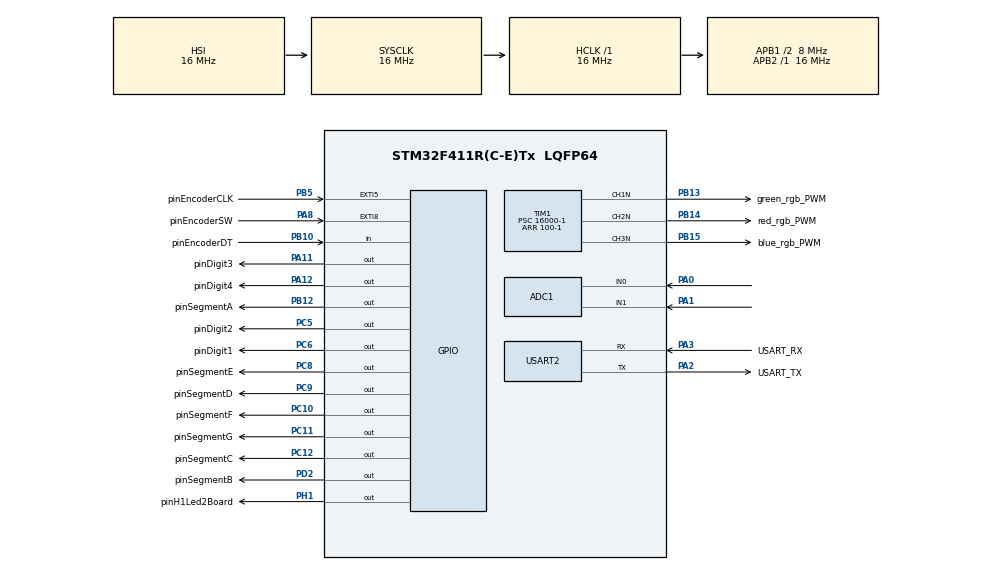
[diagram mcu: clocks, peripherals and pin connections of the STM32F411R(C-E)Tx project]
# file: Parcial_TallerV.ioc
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ADC1.Channel-0\#ChannelRegularConversion=ADC_CHANNEL_0
ADC1.Channel-1\#ChannelRegularConversion=ADC_CHANNEL_1
ADC1.ExternalTrigConv=ADC_EXTERNALTRIGCONV_T3_TRGO
ADC1.NbrOfConversion=2
ADC1.NbrOfConversionFlag=1
ADC1.Rank-0\#ChannelRegularConversion=1
ADC1.Rank-1\#ChannelRegularConversion=2
ADC1.SamplingTime-0\#ChannelRegularConversion=ADC_SAMPLETIME_3CYCLES
ADC1.SamplingTime-1\#ChannelRegularConversion=ADC_SAMPLETIME_3CYCLES
ADC1.master=1
Dma.ADC1.0.Direction=DMA_PERIPH_TO_MEMORY
Dma.ADC1.0.FIFOMode=DMA_FIFOMODE_DISABLE
Dma.ADC1.0.Instance=DMA2_Stream0
Dma.ADC1.0.MemDataAlignment=DMA_MDATAALIGN_HALFWORD
Dma.ADC1.0.MemInc=DMA_MINC_ENABLE
Dma.ADC1.0.Mode=DMA_CIRCULAR
Dma.ADC1.0.PeriphDataAlignment=DMA_PDATAALIGN_HALFWORD
Dma.ADC1.0.PeriphInc=DMA_PINC_DISABLE
Dma.ADC1.0.Priority=DMA_PRIORITY_VERY_HIGH
Dma.Request0=ADC1
Dma.Request1=USART2_RX
Dma.USART2_RX.1.Direction=DMA_PERIPH_TO_MEMORY
Dma.USART2_RX.1.FIFOMode=DMA_FIFOMODE_DISABLE
Dma.USART2_RX.1.Instance=DMA1_Stream5
Dma.USART2_RX.1.MemDataAlignment=DMA_MDATAALIGN_BYTE
Dma.USART2_RX.1.MemInc=DMA_MINC_ENABLE
Dma.USART2_RX.1.Mode=DMA_NORMAL
Dma.USART2_RX.1.PeriphDataAlignment=DMA_PDATAALIGN_BYTE
Dma.USART2_RX.1.PeriphInc=DMA_PINC_DISABLE
Dma.USART2_RX.1.Priority=DMA_PRIORITY_HIGH
Mcu.Family=STM32F4
Mcu.Name=STM32F411R(C-E)Tx
Mcu.Package=LQFP64
NVIC.DMA1_Stream5_IRQn=true\:0\:0\:false\:false\:true\:false\:true\:true
NVIC.DMA2_Stream0_IRQn=true\:0\:0\:false\:false\:true\:false\:true\:true
NVIC.EXTI9_5_IRQn=true\:0\:0\:false\:false\:true\:true\:true\:true
NVIC.PriorityGroup=NVIC_PRIORITYGROUP_0
NVIC.TIM2_IRQn=true\:0\:0\:false\:false\:true\:true\:true\:true
NVIC.TIM4_IRQn=true\:0\:0\:false\:false\:true\:true\:true\:true
PA0-WKUP.Signal=ADCx_IN0
PA1.Signal=ADCx_IN1
PA11.GPIO_Label=pinDigit3
PA11.PinState=GPIO_PIN_SET
PA11.Signal=GPIO_Output
PA12.GPIO_Label=pinDigit4
PA12.PinState=GPIO_PIN_SET
PA12.Signal=GPIO_Output
PA13.GPIO_Label=TMS
PA13.Mode=Serial_Wire
PA13.Signal=SYS_JTMS-SWDIO
PA14.GPIO_Label=TCK
PA14.Mode=Serial_Wire
PA14.Signal=SYS_JTCK-SWCLK
PA2.GPIO_Label=USART_TX
PA2.Mode=Asynchronous
PA2.Signal=USART2_TX
PA3.GPIO_Label=USART_RX
PA3.Mode=Asynchronous
PA3.Signal=USART2_RX
PA8.GPIO_Label=pinEncoderSW
PA8.Signal=GPXTI8
PB10.GPIO_Label=pinEncoderDT
PB10.Signal=GPIO_Input
PB12.GPIO_Label=pinSegmentA
PB12.Signal=GPIO_Output
PB13.GPIO_Label=green_rgb_PWM
PB13.Mode=PWM Generation1 CH1N
PB13.Signal=TIM1_CH1N
PB14.GPIO_Label=red_rgb_PWM
PB14.Mode=PWM Generation2 CH2N
PB14.Signal=TIM1_CH2N
PB15.GPIO_Label=blue_rgb_PWM
PB15.Mode=PWM Generation3 CH3N
PB15.Signal=TIM1_CH3N
PB3.GPIO_Label=SWO
PB3.Signal=SYS_JTDO-SWO
PB5.GPIO_Label=pinEncoderCLK
PB5.Signal=GPXTI5
PC10.GPIO_Label=pinSegmentF
PC10.Signal=GPIO_Output
PC11.GPIO_Label=pinSegmentG
PC11.Signal=GPIO_Output
PC12.GPIO_Label=pinSegmentC
PC12.Signal=GPIO_Output
PC14-OSC32_IN.Signal=RCC_OSC32_IN
PC15-OSC32_OUT.Signal=RCC_OSC32_OUT
PC5.GPIO_Label=pinDigit2
PC5.PinState=GPIO_PIN_SET
PC5.Signal=GPIO_Output
PC6.GPIO_Label=pinDigit1
PC6.PinState=GPIO_PIN_SET
PC6.Signal=GPIO_Output
PC8.GPIO_Label=pinSegmentE
PC8.Signal=GPIO_Output
PC9.GPIO_Label=pinSegmentD
PC9.Signal=GPIO_Output
PD2.GPIO_Label=pinSegmentB
PD2.Signal=GPIO_Output
PH0\ -\ OSC_IN.Signal=RCC_OSC_IN
PH1\ -\ OSC_OUT.GPIO_Label=pinH1Led2Board
PH1\ -\ OSC_OUT.Signal=GPIO_Output
ProjectManager.HeapSize=0x200
ProjectManager.StackSize=0x400
ProjectManager.TargetToolchain=STM32CubeIDE
RCC.48MHZClocksFreq_Value=84000000
RCC.AHBFreq_Value=16000000
RCC.APB1CLKDivider=RCC_HCLK_DIV2
RCC.APB1Freq_Value=8000000
RCC.APB1TimFreq_Value=16000000
RCC.APB2Freq_Value=16000000
RCC.APB2TimFreq_Value=16000000
RCC.CortexFreq_Value=16000000
RCC.FLatency-AdvancedSettings=FLASH_LATENCY_0
RCC.HCLKFreq_Value=16000000
RCC.HSE_VALUE=8000000
RCC.HSI_VALUE=16000000
RCC.LSE_VALUE=32768
RCC.PLLN=336
RCC.PLLP=RCC_PLLP_DIV4
RCC.SYSCLKFreq_VALUE=16000000
RCC.VCOOutputFreq_Value=336000000
SH.ADCx_IN0.0=ADC1_IN0,IN0
SH.ADCx_IN1.0=ADC1_IN1,IN1
TIM1.AutoReloadPreload=TIM_AUTORELOAD_PRELOAD_ENABLE
TIM1.Channel-PWM\ Generation1\ CH1N=TIM_CHANNEL_1
TIM1.Channel-PWM\ Generation2\ CH2N=TIM_CHANNEL_2
TIM1.Channel-PWM\ Generation3\ CH3N=TIM_CHANNEL_3
TIM1.Period=100-1
TIM1.Prescaler=16000-1
TIM1.Pulse-PWM\ Generation2\ CH2N=0
TIM1.Pulse-PWM\ Generation3\ CH3N=0
TIM2.Period=502-1
TIM2.Prescaler=16000-1
TIM3.AutoReloadPreload=TIM_AUTORELOAD_PRELOAD_ENABLE
TIM3.Period=25
TIM3.Prescaler=1200
TIM3.TIM_MasterOutputTrigger=TIM_TRGO_UPDATE
TIM4.AutoReloadPreload=TIM_AUTORELOAD_PRELOAD_ENABLE
TIM4.Period=2-1
TIM4.Prescaler=16000-1
USART2.VirtualMode=VM_ASYNC
VP_TIM1_VS_ClockSourceINT.Mode=Internal
VP_TIM2_VS_ClockSourceINT.Mode=Internal
VP_TIM3_VS_ClockSourceINT.Mode=Internal
VP_TIM4_VS_ClockSourceINT.Mode=Internal
board=NUCLEO-F411RE

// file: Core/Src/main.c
/* USER CODE BEGIN Header */
/**
  ******************************************************************************
  * @file           : main.c
  * @brief          : Main program body
  ******************************************************************************
  * @attention
  *
  * Copyright (c) 2025 STMicroelectronics.
  * All rights reserved.
  *
  * This software is licensed under terms that can be found in the LICENSE file
  * in the root directory of this software component.
  * If no LICENSE file comes with this software, it is provided AS-IS.
  *
  ******************************************************************************
  */
/* USER CODE END Header */
#include "main.h"

/* USER CODE BEGIN Includes */
#include "maquina_estados_hal.h"
#include <stdint.h>
#include <stdlib.h>  // Para atoi()
#include <string.h>  // Para strncmp()
#include <stdio.h>
/* USER CODE END Includes */

/* USER CODE BEGIN PD */
#define BUFFER_SIZE 128  // Tamaño de cada buffer (ajustar según necesidades)
#define UART_BUFFER_SIZE 64
/* USER CODE END PD */

ADC_HandleTypeDef hadc1;
DMA_HandleTypeDef hdma_adc1;

TIM_HandleTypeDef htim1;
TIM_HandleTypeDef htim2;
TIM_HandleTypeDef htim3;
TIM_HandleTypeDef htim4;

UART_HandleTypeDef huart2;
DMA_HandleTypeDef hdma_usart2_rx;

/* USER CODE BEGIN PV */
volatile uint8_t display7segmentFLAG = 0;
volatile uint8_t encoderSWextiFLAG = 0;

// Buffers Ping-Pong para X e Y (intercalados)
volatile uint16_t adc_buffer_ping[2 * BUFFER_SIZE];  // [X0, Y0, X1, Y1, ...]
volatile uint16_t adc_buffer_pong[2 * BUFFER_SIZE];  // [X0, Y0, X1, Y1, ...]

// Flags de estado
volatile uint8_t ping_active = 1;  // 1=Ping activo, 0=Pong activo
volatile uint8_t half_transfer_flag = 0;
volatile uint8_t full_transfer_flag = 0;

uint16_t x_values[BUFFER_SIZE];
uint16_t y_values[BUFFER_SIZE];
uint16_t offset = 0;

// Control de buffers
volatile enum {
    BUFFER_PING_FIRST_HALF,
    BUFFER_PING_SECOND_HALF,
    BUFFER_PONG_FIRST_HALF,
    BUFFER_PONG_SECOND_HALF
} current_buffer_section = BUFFER_PING_FIRST_HALF;

volatile uint8_t data_ready = 0;

//7 segmentos
uint8_t contadorDigito_XX = 0;
uint8_t contadorDigito_YY = 0;
volatile uint16_t display_value_XX = 0;  // Valor a mostrar en el display XX (0-100)
volatile uint16_t display_value_YY = 0;  // Valor a mostrar en el display YY (0-100)

uint8_t miles = 0;
uint8_t centenas = 0;
uint8_t decenas = 0;
uint8_t	unidades = 0;

fsm_states_t stateMachine = {0};

//UART
volatile uint8_t uart_rx_buffer[UART_BUFFER_SIZE];
volatile uint8_t uart_rx_len = 0;
volatile uint8_t uart_cmd_ready = 0;

// Valores PWM actuales (0-100%)
volatile uint8_t pwm_red = 0;
volatile uint8_t pwm_green = 0;
volatile uint8_t pwm_blue = 0;
/* USER CODE END PV */

void SystemClock_Config(void);
static void MX_GPIO_Init(void);
static void MX_DMA_Init(void);
static void MX_USART2_UART_Init(void);
static void MX_TIM2_Init(void);
static void MX_TIM3_Init(void);
static void MX_ADC1_Init(void);
static void MX_TIM1_Init(void);
static void MX_TIM4_Init(void);
/* USER CODE BEGIN PFP */
e_PosibleStates state_machine_action(uint8_t event);
void InitProgram(void);
void mostrarUnidades(void);
void mostrarDecenas(void);
void mostrarCentenas(void);
void mostrarMiles(void);
void update7SegmentDisplay(void);
void segmentoON(uint8_t number);
void divideNumber(uint16_t contador);
void ProcessUARTCommand(char* cmd);
void comandoHelp(void);
void comandoRGB(char* command);
/* USER CODE END PFP */

int main(void)
{

  /* MCU Configuration--------------------------------------------------------*/

  /* Reset of all peripherals, Initializes the Flash interface and the Systick. */
  HAL_Init();

  /* USER CODE BEGIN Init */
  InitProgram();

  /* USER CODE END Init */

  /* Configure the system clock */
  SystemClock_Config();

  /* Initialize all configured peripherals */
  MX_GPIO_Init();
  MX_DMA_Init();
  MX_USART2_UART_Init();
  MX_TIM2_Init();
  MX_TIM3_Init();
  MX_ADC1_Init();
  MX_TIM1_Init();
  MX_TIM4_Init();
  /* USER CODE BEGIN 2 */

  HAL_UART_Receive_DMA(&huart2, (uint8_t*)uart_rx_buffer, UART_BUFFER_SIZE);
  HAL_TIM_Base_Start_IT(&htim4);
  HAL_TIM_Base_Start_IT(&htim2);
  HAL_TIM_Base_Start(&htim3);
  HAL_TIM_Base_Start(&htim1);
  HAL_ADC_Start_DMA(&hadc1, (uint32_t*)adc_buffer_ping, 2 * BUFFER_SIZE);
  HAL_TIMEx_PWMN_Start(&htim1, TIM_CHANNEL_2);
  HAL_TIMEx_PWMN_Start(&htim1, TIM_CHANNEL_1);
  HAL_TIMEx_PWMN_Start(&htim1, TIM_CHANNEL_3);
  /* USER CODE END 2 */

  /* Infinite loop */
  /* USER CODE BEGIN WHILE */
  while (1)
  {
//	  if(half_transfer_flag || full_transfer_flag) {
//	          // Determinar qué buffer procesar
//	          volatile uint16_t* current_buffer;
//
//	          if(half_transfer_flag) {
//	              current_buffer = ping_active ? adc_buffer_ping : adc_buffer_pong;
//	          } else { // full_transfer_flag
//	              current_buffer = ping_active ? adc_buffer_pong : adc_buffer_ping;
//	          }
//
//	          // Procesar datos (ejemplo: separar ejes)
//
//
//	          for(int i = 0; i < BUFFER_SIZE; i++) {
//	              x_values[i] = current_buffer[2 * i];      // Posiciones pares: X
//	              y_values[i] = current_buffer[2 * i + 1];  // Posiciones impares: Y
//	          }
//
//	          // Resetear flags
//	          half_transfer_flag = 0;
//	          full_transfer_flag = 0;
//
//	          // Cambiar buffer activo si es transferencia completa
//	          if(full_transfer_flag) {
//	              ping_active = !ping_active;
//	          }
//
//	          // AQUÍ TU PROCESAMIENTO DE DATOS (ejes X e Y separados)
//	          // Puedes implementar filtrado, calibración, etc.
//	      }
	  state_machine_action(0);

    /* USER CODE END WHILE */

  }
}

void SystemClock_Config(void)
{
  RCC_OscInitTypeDef RCC_OscInitStruct = {0};
  RCC_ClkInitTypeDef RCC_ClkInitStruct = {0};

  /** Configure the main internal regulator output voltage
  */
  __HAL_RCC_PWR_CLK_ENABLE();
  __HAL_PWR_VOLTAGESCALING_CONFIG(PWR_REGULATOR_VOLTAGE_SCALE1);

  /** Initializes the RCC Oscillators according to the specified parameters
  * in the RCC_OscInitTypeDef structure.
  */
  RCC_OscInitStruct.OscillatorType = RCC_OSCILLATORTYPE_HSI;
  RCC_OscInitStruct.HSIState = RCC_HSI_ON;
  RCC_OscInitStruct.HSICalibrationValue = RCC_HSICALIBRATION_DEFAULT;
  RCC_OscInitStruct.PLL.PLLState = RCC_PLL_NONE;
  if (HAL_RCC_OscConfig(&RCC_OscInitStruct) != HAL_OK)
  {
    Error_Handler();
  }

  /** Initializes the CPU, AHB and APB buses clocks
  */
  RCC_ClkInitStruct.ClockType = RCC_CLOCKTYPE_HCLK|RCC_CLOCKTYPE_SYSCLK
                              |RCC_CLOCKTYPE_PCLK1|RCC_CLOCKTYPE_PCLK2;
  RCC_ClkInitStruct.SYSCLKSource = RCC_SYSCLKSOURCE_HSI;
  RCC_ClkInitStruct.AHBCLKDivider = RCC_SYSCLK_DIV1;
  RCC_ClkInitStruct.APB1CLKDivider = RCC_HCLK_DIV2;
  RCC_ClkInitStruct.APB2CLKDivider = RCC_HCLK_DIV1;

  if (HAL_RCC_ClockConfig(&RCC_ClkInitStruct, FLASH_LATENCY_0) != HAL_OK)
  {
    Error_Handler();
  }
}

static void MX_ADC1_Init(void)
{

  ADC_ChannelConfTypeDef sConfig = {0};

  /** Configure the global features of the ADC (Clock, Resolution, Data Alignment and number of conversion)
  */
  hadc1.Instance = ADC1;
  hadc1.Init.ClockPrescaler = ADC_CLOCK_SYNC_PCLK_DIV2;
  hadc1.Init.Resolution = ADC_RESOLUTION_12B;
  hadc1.Init.ScanConvMode = ENABLE;
  hadc1.Init.ContinuousConvMode = DISABLE;
  hadc1.Init.DiscontinuousConvMode = DISABLE;
  hadc1.Init.ExternalTrigConvEdge = ADC_EXTERNALTRIGCONVEDGE_RISING;
  hadc1.Init.ExternalTrigConv = ADC_EXTERNALTRIGCONV_T3_TRGO;
  hadc1.Init.DataAlign = ADC_DATAALIGN_RIGHT;
  hadc1.Init.NbrOfConversion = 2;
  hadc1.Init.DMAContinuousRequests = DISABLE;
  hadc1.Init.EOCSelection = ADC_EOC_SINGLE_CONV;
  if (HAL_ADC_Init(&hadc1) != HAL_OK)
  {
    Error_Handler();
  }

  /** Configure for the selected ADC regular channel its corresponding rank in the sequencer and its sample time.
  */
  sConfig.Channel = ADC_CHANNEL_0;
  sConfig.Rank = 1;
  sConfig.SamplingTime = ADC_SAMPLETIME_3CYCLES;
  if (HAL_ADC_ConfigChannel(&hadc1, &sConfig) != HAL_OK)
  {
    Error_Handler();
  }

  /** Configure for the selected ADC regular channel its corresponding rank in the sequencer and its sample time.
  */
  sConfig.Channel = ADC_CHANNEL_1;
  sConfig.Rank = 2;
  if (HAL_ADC_ConfigChannel(&hadc1, &sConfig) != HAL_OK)
  {
    Error_Handler();
  }

}

static void MX_TIM1_Init(void)
{

  TIM_ClockConfigTypeDef sClockSourceConfig = {0};
  TIM_MasterConfigTypeDef sMasterConfig = {0};
  TIM_OC_InitTypeDef sConfigOC = {0};
  TIM_BreakDeadTimeConfigTypeDef sBreakDeadTimeConfig = {0};

  htim1.Instance = TIM1;
  htim1.Init.Prescaler = 16000-1;
  htim1.Init.CounterMode = TIM_COUNTERMODE_UP;
  htim1.Init.Period = 100-1;
  htim1.Init.ClockDivision = TIM_CLOCKDIVISION_DIV1;
  htim1.Init.RepetitionCounter = 0;
  htim1.Init.AutoReloadPreload = TIM_AUTORELOAD_PRELOAD_ENABLE;
  if (HAL_TIM_Base_Init(&htim1) != HAL_OK)
  {
    Error_Handler();
  }
  sClockSourceConfig.ClockSource = TIM_CLOCKSOURCE_INTERNAL;
  if (HAL_TIM_ConfigClockSource(&htim1, &sClockSourceConfig) != HAL_OK)
  {
    Error_Handler();
  }
  if (HAL_TIM_PWM_Init(&htim1) != HAL_OK)
  {
    Error_Handler();
  }
  sMasterConfig.MasterOutputTrigger = TIM_TRGO_RESET;
  sMasterConfig.MasterSlaveMode = TIM_MASTERSLAVEMODE_DISABLE;
  if (HAL_TIMEx_MasterConfigSynchronization(&htim1, &sMasterConfig) != HAL_OK)
  {
    Error_Handler();
  }
  sConfigOC.OCMode = TIM_OCMODE_PWM1;
  sConfigOC.Pulse = 0;
  sConfigOC.OCPolarity = TIM_OCPOLARITY_HIGH;
  sConfigOC.OCNPolarity = TIM_OCNPOLARITY_HIGH;
  sConfigOC.OCFastMode = TIM_OCFAST_DISABLE;
  sConfigOC.OCIdleState = TIM_OCIDLESTATE_RESET;
  sConfigOC.OCNIdleState = TIM_OCNIDLESTATE_RESET;
  if (HAL_TIM_PWM_ConfigChannel(&htim1, &sConfigOC, TIM_CHANNEL_1) != HAL_OK)
  {
    Error_Handler();
  }
  if (HAL_TIM_PWM_ConfigChannel(&htim1, &sConfigOC, TIM_CHANNEL_2) != HAL_OK)
  {
    Error_Handler();
  }
  if (HAL_TIM_PWM_ConfigChannel(&htim1, &sConfigOC, TIM_CHANNEL_3) != HAL_OK)
  {
    Error_Handler();
  }
  sBreakDeadTimeConfig.OffStateRunMode = TIM_OSSR_DISABLE;
  sBreakDeadTimeConfig.OffStateIDLEMode = TIM_OSSI_DISABLE;
  sBreakDeadTimeConfig.LockLevel = TIM_LOCKLEVEL_OFF;
  sBreakDeadTimeConfig.DeadTime = 0;
  sBreakDeadTimeConfig.BreakState = TIM_BREAK_DISABLE;
  sBreakDeadTimeConfig.BreakPolarity = TIM_BREAKPOLARITY_HIGH;
  sBreakDeadTimeConfig.AutomaticOutput = TIM_AUTOMATICOUTPUT_DISABLE;
  if (HAL_TIMEx_ConfigBreakDeadTime(&htim1, &sBreakDeadTimeConfig) != HAL_OK)
  {
    Error_Handler();
  }
  HAL_TIM_MspPostInit(&htim1);

}

static void MX_TIM2_Init(void)
{

  TIM_ClockConfigTypeDef sClockSourceConfig = {0};
  TIM_MasterConfigTypeDef sMasterConfig = {0};

  htim2.Instance = TIM2;
  htim2.Init.Prescaler = 16000-1;
  htim2.Init.CounterMode = TIM_COUNTERMODE_UP;
  htim2.Init.Period = 502-1;
  htim2.Init.ClockDivision = TIM_CLOCKDIVISION_DIV1;
  htim2.Init.AutoReloadPreload = TIM_AUTORELOAD_PRELOAD_DISABLE;
  if (HAL_TIM_Base_Init(&htim2) != HAL_OK)
  {
    Error_Handler();
  }
  sClockSourceConfig.ClockSource = TIM_CLOCKSOURCE_INTERNAL;
  if (HAL_TIM_ConfigClockSource(&htim2, &sClockSourceConfig) != HAL_OK)
  {
    Error_Handler();
  }
  sMasterConfig.MasterOutputTrigger = TIM_TRGO_RESET;
  sMasterConfig.MasterSlaveMode = TIM_MASTERSLAVEMODE_DISABLE;
  if (HAL_TIMEx_MasterConfigSynchronization(&htim2, &sMasterConfig) != HAL_OK)
  {
    Error_Handler();
  }

}

static void MX_TIM3_Init(void)
{

  TIM_ClockConfigTypeDef sClockSourceConfig = {0};
  TIM_MasterConfigTypeDef sMasterConfig = {0};

  htim3.Instance = TIM3;
  htim3.Init.Prescaler = 1200;
  htim3.Init.CounterMode = TIM_COUNTERMODE_UP;
  htim3.Init.Period = 25;
  htim3.Init.ClockDivision = TIM_CLOCKDIVISION_DIV1;
  htim3.Init.AutoReloadPreload = TIM_AUTORELOAD_PRELOAD_ENABLE;
  if (HAL_TIM_Base_Init(&htim3) != HAL_OK)
  {
    Error_Handler();
  }
  sClockSourceConfig.ClockSource = TIM_CLOCKSOURCE_INTERNAL;
  if (HAL_TIM_ConfigClockSource(&htim3, &sClockSourceConfig) != HAL_OK)
  {
    Error_Handler();
  }
  sMasterConfig.MasterOutputTrigger = TIM_TRGO_UPDATE;
  sMasterConfig.MasterSlaveMode = TIM_MASTERSLAVEMODE_DISABLE;
  if (HAL_TIMEx_MasterConfigSynchronization(&htim3, &sMasterConfig) != HAL_OK)
  {
    Error_Handler();
  }

}

static void MX_TIM4_Init(void)
{

  TIM_ClockConfigTypeDef sClockSourceConfig = {0};
  TIM_MasterConfigTypeDef sMasterConfig = {0};

  htim4.Instance = TIM4;
  htim4.Init.Prescaler = 16000-1;
  htim4.Init.CounterMode = TIM_COUNTERMODE_UP;
  htim4.Init.Period = 2-1;
  htim4.Init.ClockDivision = TIM_CLOCKDIVISION_DIV1;
  htim4.Init.AutoReloadPreload = TIM_AUTORELOAD_PRELOAD_ENABLE;
  if (HAL_TIM_Base_Init(&htim4) != HAL_OK)
  {
    Error_Handler();
  }
  sClockSourceConfig.ClockSource = TIM_CLOCKSOURCE_INTERNAL;
  if (HAL_TIM_ConfigClockSource(&htim4, &sClockSourceConfig) != HAL_OK)
  {
    Error_Handler();
  }
  sMasterConfig.MasterOutputTrigger = TIM_TRGO_RESET;
  sMasterConfig.MasterSlaveMode = TIM_MASTERSLAVEMODE_DISABLE;
  if (HAL_TIMEx_MasterConfigSynchronization(&htim4, &sMasterConfig) != HAL_OK)
  {
    Error_Handler();
  }

}

static void MX_USART2_UART_Init(void)
{

  huart2.Instance = USART2;
  huart2.Init.BaudRate = 115200;
  huart2.Init.WordLength = UART_WORDLENGTH_8B;
  huart2.Init.StopBits = UART_STOPBITS_1;
  huart2.Init.Parity = UART_PARITY_NONE;
  huart2.Init.Mode = UART_MODE_TX_RX;
  huart2.Init.HwFlowCtl = UART_HWCONTROL_NONE;
  huart2.Init.OverSampling = UART_OVERSAMPLING_16;
  if (HAL_UART_Init(&huart2) != HAL_OK)
  {
    Error_Handler();
  }

}

static void MX_DMA_Init(void)
{

  /* DMA controller clock enable */
  __HAL_RCC_DMA2_CLK_ENABLE();
  __HAL_RCC_DMA1_CLK_ENABLE();

  /* DMA interrupt init */
  /* DMA1_Stream5_IRQn interrupt configuration */
  HAL_NVIC_SetPriority(DMA1_Stream5_IRQn, 0, 0);
  HAL_NVIC_EnableIRQ(DMA1_Stream5_IRQn);
  /* DMA2_Stream0_IRQn interrupt configuration */
  HAL_NVIC_SetPriority(DMA2_Stream0_IRQn, 0, 0);
  HAL_NVIC_EnableIRQ(DMA2_Stream0_IRQn);

}

static void MX_GPIO_Init(void)
{
  GPIO_InitTypeDef GPIO_InitStruct = {0};

  /* GPIO Ports Clock Enable */
  __HAL_RCC_GPIOC_CLK_ENABLE();
  __HAL_RCC_GPIOH_CLK_ENABLE();
  __HAL_RCC_GPIOA_CLK_ENABLE();
  __HAL_RCC_GPIOB_CLK_ENABLE();
  __HAL_RCC_GPIOD_CLK_ENABLE();

  /*Configure GPIO pin Output Level */
  HAL_GPIO_WritePin(pinH1Led2Board_GPIO_Port, pinH1Led2Board_Pin, GPIO_PIN_RESET);

  /*Configure GPIO pin Output Level */
  HAL_GPIO_WritePin(GPIOC, pinDigit2_Pin|pinDigit1_Pin, GPIO_PIN_SET);

  /*Configure GPIO pin Output Level */
  HAL_GPIO_WritePin(pinSegmentA_GPIO_Port, pinSegmentA_Pin, GPIO_PIN_RESET);

  /*Configure GPIO pin Output Level */
  HAL_GPIO_WritePin(GPIOC, pinSegmentE_Pin|pinSegmentD_Pin|pinSegmentF_Pin|pinSegmentG_Pin
                          |pinSegmentC_Pin, GPIO_PIN_RESET);

  /*Configure GPIO pin Output Level */
  HAL_GPIO_WritePin(GPIOA, pinDigit3_Pin|pinDigit4_Pin, GPIO_PIN_SET);

  /*Configure GPIO pin Output Level */
  HAL_GPIO_WritePin(pinSegmentB_GPIO_Port, pinSegmentB_Pin, GPIO_PIN_RESET);

  /*Configure GPIO pin : pinH1Led2Board_Pin */
  GPIO_InitStruct.Pin = pinH1Led2Board_Pin;
  GPIO_InitStruct.Mode = GPIO_MODE_OUTPUT_PP;
  GPIO_InitStruct.Pull = GPIO_NOPULL;
  GPIO_InitStruct.Speed = GPIO_SPEED_FREQ_LOW;
  HAL_GPIO_Init(pinH1Led2Board_GPIO_Port, &GPIO_InitStruct);

  /*Configure GPIO pins : pinDigit2_Pin pinDigit1_Pin pinSegmentE_Pin pinSegmentD_Pin
                           pinSegmentF_Pin pinSegmentG_Pin pinSegmentC_Pin */
  GPIO_InitStruct.Pin = pinDigit2_Pin|pinDigit1_Pin|pinSegmentE_Pin|pinSegmentD_Pin
                          |pinSegmentF_Pin|pinSegmentG_Pin|pinSegmentC_Pin;
  GPIO_InitStruct.Mode = GPIO_MODE_OUTPUT_PP;
  GPIO_InitStruct.Pull = GPIO_NOPULL;
  GPIO_InitStruct.Speed = GPIO_SPEED_FREQ_LOW;
  HAL_GPIO_Init(GPIOC, &GPIO_InitStruct);

  /*Configure GPIO pin : pinEncoderDT_Pin */
  GPIO_InitStruct.Pin = pinEncoderDT_Pin;
  GPIO_InitStruct.Mode = GPIO_MODE_INPUT;
  GPIO_InitStruct.Pull = GPIO_NOPULL;
  HAL_GPIO_Init(pinEncoderDT_GPIO_Port, &GPIO_InitStruct);

  /*Configure GPIO pin : pinSegmentA_Pin */
  GPIO_InitStruct.Pin = pinSegmentA_Pin;
  GPIO_InitStruct.Mode = GPIO_MODE_OUTPUT_PP;
  GPIO_InitStruct.Pull = GPIO_NOPULL;
  GPIO_InitStruct.Speed = GPIO_SPEED_FREQ_LOW;
  HAL_GPIO_Init(pinSegmentA_GPIO_Port, &GPIO_InitStruct);

  /*Configure GPIO pin : pinEncoderSW_Pin */
  GPIO_InitStruct.Pin = pinEncoderSW_Pin;
  GPIO_InitStruct.Mode = GPIO_MODE_IT_RISING;
  GPIO_InitStruct.Pull = GPIO_NOPULL;
  HAL_GPIO_Init(pinEncoderSW_GPIO_Port, &GPIO_InitStruct);

  /*Configure GPIO pins : pinDigit3_Pin pinDigit4_Pin */
  GPIO_InitStruct.Pin = pinDigit3_Pin|pinDigit4_Pin;
  GPIO_InitStruct.Mode = GPIO_MODE_OUTPUT_PP;
  GPIO_InitStruct.Pull = GPIO_NOPULL;
  GPIO_InitStruct.Speed = GPIO_SPEED_FREQ_LOW;
  HAL_GPIO_Init(GPIOA, &GPIO_InitStruct);

  /*Configure GPIO pin : pinSegmentB_Pin */
  GPIO_InitStruct.Pin = pinSegmentB_Pin;
  GPIO_InitStruct.Mode = GPIO_MODE_OUTPUT_PP;
  GPIO_InitStruct.Pull = GPIO_NOPULL;
  GPIO_InitStruct.Speed = GPIO_SPEED_FREQ_LOW;
  HAL_GPIO_Init(pinSegmentB_GPIO_Port, &GPIO_InitStruct);

  /*Configure GPIO pin : pinEncoderCLK_Pin */
  GPIO_InitStruct.Pin = pinEncoderCLK_Pin;
  GPIO_InitStruct.Mode = GPIO_MODE_IT_RISING;
  GPIO_InitStruct.Pull = GPIO_NOPULL;
  HAL_GPIO_Init(pinEncoderCLK_GPIO_Port, &GPIO_InitStruct);

  /* EXTI interrupt init*/
  HAL_NVIC_SetPriority(EXTI9_5_IRQn, 0, 0);
  HAL_NVIC_EnableIRQ(EXTI9_5_IRQn);

}

/* USER CODE BEGIN 4 */
//Funcion para inicar la FSM en el estado base. El main.c con drivers propios no lo tiene
void InitProgram(void)
{
	stateMachine.state=IDLE;
	current_buffer_section = BUFFER_PING_FIRST_HALF;
}

void divideNumber(uint16_t contador)
{
	if(contador ==4096)
	{
		contador = 0;
	}
	miles = contador/1000;
	centenas = contador/100 %10;
	decenas = contador/10 %10;
	unidades = contador%10;
}
void update7SegmentDisplay(void)
{
	if(contadorDigito_XX == 4)
	{
		contadorDigito_XX = 0;
	}
	if(display_value_XX>=100){
		display_value_XX = 99;
	}
	if(display_value_YY>=100){
		display_value_YY = 99;
	}
	divideNumber(display_value_YY*100 + display_value_XX);
	switch(contadorDigito_XX)
	{
		case 0:
			mostrarUnidades();
		break;
		case 1:
			mostrarDecenas();
		break;
		case 2:
			mostrarCentenas();
		break;
		case 3:
			mostrarMiles();
		break;
	}
	contadorDigito_XX++;
}
//void update7SegmentDisplay_YY(void)
//{
//	if(contadorDigito_YY == 2)
//	{
//		contadorDigito_YY = 0;
//	}
//	if(display_value_YY>=100){
//		display_value_YY = 99;
//	}
//	divideNumber(display_value_YY);
//	switch(contadorDigito_YY)
//	{
//		case 0:
//			mostrarCentenas();
//		break;
//		case 1:
//			mostrarMiles();
//		break;
//	}
//	contadorDigito_YY++;
//}
void segmentoON(uint8_t number)
{
	switch(number)
	{

		case 0:
			HAL_GPIO_WritePin(pinSegmentA_GPIO_Port, pinSegmentA_Pin, SET);
			HAL_GPIO_WritePin(pinSegmentA_GPIO_Port, pinSegmentA_Pin, SET);
			HAL_GPIO_WritePin(pinSegmentB_GPIO_Port, pinSegmentB_Pin, SET);
			HAL_GPIO_WritePin(pinSegmentC_GPIO_Port, pinSegmentC_Pin, SET);
			HAL_GPIO_WritePin(pinSegmentD_GPIO_Port, pinSegmentD_Pin, SET);
			HAL_GPIO_WritePin(pinSegmentE_GPIO_Port, pinSegmentE_Pin, SET);
			HAL_GPIO_WritePin(pinSegmentF_GPIO_Port, pinSegmentF_Pin, SET);
			HAL_GPIO_WritePin(pinSegmentG_GPIO_Port, pinSegmentG_Pin, RESET);
		break;

		case 1:
			HAL_GPIO_WritePin(pinSegmentA_GPIO_Port, pinSegmentA_Pin, RESET);
			HAL_GPIO_WritePin(pinSegmentB_GPIO_Port, pinSegmentB_Pin, SET);
			HAL_GPIO_WritePin(pinSegmentC_GPIO_Port, pinSegmentC_Pin, SET);
			HAL_GPIO_WritePin(pinSegmentD_GPIO_Port, pinSegmentD_Pin, RESET);
			HAL_GPIO_WritePin(pinSegmentE_GPIO_Port, pinSegmentE_Pin, RESET);
			HAL_GPIO_WritePin(pinSegmentF_GPIO_Port, pinSegmentF_Pin, RESET);
			HAL_GPIO_WritePin(pinSegmentG_GPIO_Port, pinSegmentG_Pin, RESET);
		break;

		case 2:
			HAL_GPIO_WritePin(pinSegmentA_GPIO_Port, pinSegmentA_Pin, SET);
			HAL_GPIO_WritePin(pinSegmentB_GPIO_Port, pinSegmentB_Pin, SET);
			HAL_GPIO_WritePin(pinSegmentC_GPIO_Port, pinSegmentC_Pin, RESET);
			HAL_GPIO_WritePin(pinSegmentD_GPIO_Port, pinSegmentD_Pin, SET);
			HAL_GPIO_WritePin(pinSegmentE_GPIO_Port, pinSegmentE_Pin, SET);
			HAL_GPIO_WritePin(pinSegmentF_GPIO_Port, pinSegmentF_Pin, RESET);
			HAL_GPIO_WritePin(pinSegmentG_GPIO_Port, pinSegmentG_Pin, SET);
		break;

		case 3:
			HAL_GPIO_WritePin(pinSegmentA_GPIO_Port, pinSegmentA_Pin, SET);
			HAL_GPIO_WritePin(pinSegmentB_GPIO_Port, pinSegmentB_Pin, SET);
			HAL_GPIO_WritePin(pinSegmentC_GPIO_Port, pinSegmentC_Pin, SET);
			HAL_GPIO_WritePin(pinSegmentD_GPIO_Port, pinSegmentD_Pin, SET);
			HAL_GPIO_WritePin(pinSegmentE_GPIO_Port, pinSegmentE_Pin, RESET);
			HAL_GPIO_WritePin(pinSegmentF_GPIO_Port, pinSegmentF_Pin, RESET);
			HAL_GPIO_WritePin(pinSegmentG_GPIO_Port, pinSegmentG_Pin, SET);
		break;

		case 4:
			HAL_GPIO_WritePin(pinSegmentA_GPIO_Port, pinSegmentA_Pin, RESET);
			HAL_GPIO_WritePin(pinSegmentB_GPIO_Port, pinSegmentB_Pin, SET);
			HAL_GPIO_WritePin(pinSegmentC_GPIO_Port, pinSegmentC_Pin, SET);
			HAL_GPIO_WritePin(pinSegmentD_GPIO_Port, pinSegmentD_Pin, RESET);
			HAL_GPIO_WritePin(pinSegmentE_GPIO_Port, pinSegmentE_Pin, RESET);
			HAL_GPIO_WritePin(pinSegmentF_GPIO_Port, pinSegmentF_Pin, SET);
			HAL_GPIO_WritePin(pinSegmentG_GPIO_Port, pinSegmentG_Pin, SET);
		break;

		case 5:
			HAL_GPIO_WritePin(pinSegmentA_GPIO_Port, pinSegmentA_Pin, SET);
			HAL_GPIO_WritePin(pinSegmentB_GPIO_Port, pinSegmentB_Pin, RESET);
			HAL_GPIO_WritePin(pinSegmentC_GPIO_Port, pinSegmentC_Pin, SET);
			HAL_GPIO_WritePin(pinSegmentD_GPIO_Port, pinSegmentD_Pin, SET);
			HAL_GPIO_WritePin(pinSegmentE_GPIO_Port, pinSegmentE_Pin, RESET);
			HAL_GPIO_WritePin(pinSegmentF_GPIO_Port, pinSegmentF_Pin, SET);
			HAL_GPIO_WritePin(pinSegmentG_GPIO_Port, pinSegmentG_Pin, SET);
		break;

		case 6:
			HAL_GPIO_WritePin(pinSegmentA_GPIO_Port, pinSegmentA_Pin, SET);
			HAL_GPIO_WritePin(pinSegmentB_GPIO_Port, pinSegmentB_Pin, RESET);
			HAL_GPIO_WritePin(pinSegmentC_GPIO_Port, pinSegmentC_Pin, SET);
			HAL_GPIO_WritePin(pinSegmentD_GPIO_Port, pinSegmentD_Pin, SET);
			HAL_GPIO_WritePin(pinSegmentE_GPIO_Port, pinSegmentE_Pin, SET);
			HAL_GPIO_WritePin(pinSegmentF_GPIO_Port, pinSegmentF_Pin, SET);
			HAL_GPIO_WritePin(pinSegmentG_GPIO_Port, pinSegmentG_Pin, SET);
		break;

		case 7:
			HAL_GPIO_WritePin(pinSegmentA_GPIO_Port, pinSegmentA_Pin, SET);
			HAL_GPIO_WritePin(pinSegmentB_GPIO_Port, pinSegmentB_Pin, SET);
			HAL_GPIO_WritePin(pinSegmentC_GPIO_Port, pinSegmentC_Pin, SET);
			HAL_GPIO_WritePin(pinSegmentD_GPIO_Port, pinSegmentD_Pin, RESET);
			HAL_GPIO_WritePin(pinSegmentE_GPIO_Port, pinSegmentE_Pin, RESET);
			HAL_GPIO_WritePin(pinSegmentF_GPIO_Port, pinSegmentF_Pin, RESET);
			HAL_GPIO_WritePin(pinSegmentG_GPIO_Port, pinSegmentG_Pin, RESET);
		break;

		case 8:
			HAL_GPIO_WritePin(pinSegmentA_GPIO_Port, pinSegmentA_Pin, SET);
			HAL_GPIO_WritePin(pinSegmentB_GPIO_Port, pinSegmentB_Pin, SET);
			HAL_GPIO_WritePin(pinSegmentC_GPIO_Port, pinSegmentC_Pin, SET);
			HAL_GPIO_WritePin(pinSegmentD_GPIO_Port, pinSegmentD_Pin, SET);
			HAL_GPIO_WritePin(pinSegmentE_GPIO_Port, pinSegmentE_Pin, SET);
			HAL_GPIO_WritePin(pinSegmentF_GPIO_Port, pinSegmentF_Pin, SET);
			HAL_GPIO_WritePin(pinSegmentG_GPIO_Port, pinSegmentG_Pin, SET);
		break;

		case 9:
			HAL_GPIO_WritePin(pinSegmentA_GPIO_Port, pinSegmentA_Pin, SET);
			HAL_GPIO_WritePin(pinSegmentB_GPIO_Port, pinSegmentB_Pin, SET);
			HAL_GPIO_WritePin(pinSegmentC_GPIO_Port, pinSegmentC_Pin, SET);
			HAL_GPIO_WritePin(pinSegmentD_GPIO_Port, pinSegmentD_Pin, SET);
			HAL_GPIO_WritePin(pinSegmentE_GPIO_Port, pinSegmentE_Pin, RESET);
			HAL_GPIO_WritePin(pinSegmentF_GPIO_Port, pinSegmentF_Pin, SET);
			HAL_GPIO_WritePin(pinSegmentG_GPIO_Port, pinSegmentG_Pin, SET);
		break;

		default:
		{
			break;
		}
	}
}
void mostrarUnidades(void)
{
	HAL_GPIO_WritePin(pinDigit1_GPIO_Port,pinDigit1_Pin, SET);
	HAL_GPIO_WritePin(pinDigit1_GPIO_Port,pinDigit1_Pin,SET);
	HAL_GPIO_WritePin(pinDigit2_GPIO_Port,pinDigit2_Pin,SET);
	HAL_GPIO_WritePin(pinDigit3_GPIO_Port,pinDigit3_Pin,SET);
	segmentoON(unidades);
	HAL_GPIO_WritePin(pinDigit4_GPIO_Port,pinDigit4_Pin,RESET);
}

void mostrarDecenas(void)
{
	HAL_GPIO_WritePin(pinDigit1_GPIO_Port,pinDigit1_Pin,SET);
	HAL_GPIO_WritePin(pinDigit2_GPIO_Port,pinDigit2_Pin,SET);
	HAL_GPIO_WritePin(pinDigit4_GPIO_Port,pinDigit4_Pin,SET);
	segmentoON(decenas);
	HAL_GPIO_WritePin(pinDigit3_GPIO_Port,pinDigit3_Pin,RESET);
}

void mostrarCentenas(void)
{
	HAL_GPIO_WritePin(pinDigit1_GPIO_Port,pinDigit1_Pin,SET);
	HAL_GPIO_WritePin(pinDigit4_GPIO_Port,pinDigit4_Pin,SET);
	HAL_GPIO_WritePin(pinDigit3_GPIO_Port,pinDigit3_Pin,SET);
	segmentoON(centenas);
	HAL_GPIO_WritePin(pinDigit2_GPIO_Port,pinDigit2_Pin,RESET);
}

void mostrarMiles(void)
{
	HAL_GPIO_WritePin(pinDigit4_GPIO_Port,pinDigit4_Pin,SET);
	HAL_GPIO_WritePin(pinDigit2_GPIO_Port,pinDigit2_Pin,SET);
	HAL_GPIO_WritePin(pinDigit3_GPIO_Port,pinDigit3_Pin,SET);
	segmentoON(miles);
	HAL_GPIO_WritePin(pinDigit1_GPIO_Port,pinDigit1_Pin,RESET);
}

//Funcion para procesar comandos
void Process_Command(const char* cmd) {
    // Formato esperado: "RxxxGxxxBxxx\n" (ej: "R100G050B000")
    char *ptr;

    // Buscar comando Rojo
    ptr = strchr(cmd, 'R');
    if(ptr) {
        pwm_red = (uint8_t)atoi(ptr+1);
        pwm_red = (pwm_red > 100) ? 100 : pwm_red;
    }

    // Buscar comando Verde
    ptr = strchr(cmd, 'G');
    if(ptr) {
        pwm_green = (uint8_t)atoi(ptr+1);
        pwm_green = (pwm_green > 100) ? 100 : pwm_green;
    }

    // Buscar comando Azul
    ptr = strchr(cmd, 'B');
    if(ptr) {
        pwm_blue = (uint8_t)atoi(ptr+1);
        pwm_blue = (pwm_blue > 100) ? 100 : pwm_blue;
    }
    else if (strcmp(cmd, "HELP") == 0) {
        comandoHelp();
    }

    // Actualizar PWM
    __HAL_TIM_SET_COMPARE(&htim1, TIM_CHANNEL_2, (pwm_red * htim1.Init.Period) / 100);
    __HAL_TIM_SET_COMPARE(&htim1, TIM_CHANNEL_1, (pwm_green * htim1.Init.Period) / 100);
    __HAL_TIM_SET_COMPARE(&htim1, TIM_CHANNEL_3, (pwm_blue * htim1.Init.Period) / 100);

    char response[32];
    snprintf(response, 32, "SET: R%d G%d B%d\r\n", pwm_red, pwm_green, pwm_blue);
    HAL_UART_Transmit(&huart2, (uint8_t*)response, strlen(response), 10);
}
void comandoHelp(void) {
    const char *help_message =
        "Comandos disponibles:\r\n"
        "RGB=<r,g,b> - Cambia ciclo de trabajo de PWM, rango de 0 a 100 (ej: RGB=70,25,99)\r\n"
        "HELP - Muestra esta ayuda\r\n"
        "END_HELP\r\n";  // Marcador de fin

    HAL_UART_Transmit(&huart2, (uint8_t*)help_message, strlen(help_message), 100);
}

void comandoRGB(char* command)
{

     {
      const char* error_msg = "ERROR:Valor invalido (1-100)\r\n";
      HAL_UART_Transmit(&huart2, (uint8_t*)error_msg, strlen(error_msg), 100);
    }

}

// maquina de estados
e_PosibleStates state_machine_action(uint8_t event)
{
	switch (stateMachine.state){
	case IDLE:
	{

	    if(uart_cmd_ready)
	    {
	        // Convertir a string terminado en null
	        char cmd_buffer[UART_BUFFER_SIZE + 1];
	        memcpy(cmd_buffer, (const char*)uart_rx_buffer, uart_rx_len);
	        cmd_buffer[uart_rx_len] = '\0';

	        // Procesar comando
	        Process_Command(cmd_buffer);

	        // Resetear flag
	        uart_cmd_ready = 0;
	    }
	    // ... (otras tareas)
	   if(data_ready)
	   {
			volatile uint16_t* current_half;

			// Determinar qué sección procesar
			switch(current_buffer_section) {
				case BUFFER_PING_FIRST_HALF:
					current_half = adc_buffer_ping;
					break;
				case BUFFER_PING_SECOND_HALF:
					current_half = adc_buffer_ping + BUFFER_SIZE;
					break;
				case BUFFER_PONG_FIRST_HALF:
					current_half = adc_buffer_pong;
					break;
				case BUFFER_PONG_SECOND_HALF:
					current_half = adc_buffer_pong + BUFFER_SIZE;
					break;
			}

			// Separar ejes (2 muestras por posición)
			for(int i = 0; i < BUFFER_SIZE/2; i++) {
				x_values[i] = (current_half[2 * i]* 100 + 2047) / 4095; ; // Redondeo al entero más cercano
				y_values[i] = (current_half[2 * i + 1]* 100 + 2047) / 4095; ; // Redondeo al entero más cercano
			}
			//Promedio para eje X
			uint32_t sumaTotal_ejeX = 0;
			for(int i = 0; i < BUFFER_SIZE/2; i++) {
				sumaTotal_ejeX += x_values[i];
			}
			display_value_XX = 2*sumaTotal_ejeX / BUFFER_SIZE;  // Promedio entero

			//Promedio para eje Y
			uint32_t sumaTotal_ejeY = 0;
			for(int i = 0; i < BUFFER_SIZE/2; i++) {
				sumaTotal_ejeY += y_values[i];
			}
			display_value_YY = 2*sumaTotal_ejeY / BUFFER_SIZE;  // Promedio entero

			data_ready = 0;

			// AQUÍ PROCESAR LOS DATOS (x_values y y_values)
		}

		if(display7segmentFLAG)
		{
			stateMachine.state = DISPLAY;
			display7segmentFLAG = 0;
		}

	}
	return stateMachine.state;

	case DISPLAY:
	{

		update7SegmentDisplay();
//		update7SegmentDisplay_YY();
		stateMachine.state=IDLE;
	}
	return stateMachine.state;

	default:
		{
		stateMachine.state = IDLE;
		return stateMachine.state;
		}

	}
}

// %%%%%%%%% CALLBACK %%%%%%%%%%%%
//UART
void HAL_UART_RxCpltCallback(UART_HandleTypeDef *huart) {
    if(huart->Instance == USART2) {
        // Buscar fin de comando (nueva línea)
        for(uint8_t i = 0; i < UART_BUFFER_SIZE; i++) {
            if(uart_rx_buffer[i] == '\n' ||uart_rx_buffer[i] == '\r') {
                uart_rx_len = i;
                uart_cmd_ready = 1;
                break;
            }
        }
        // Reiniciar recepción DMA
        HAL_UART_Receive_DMA(&huart2, (uint8_t*)uart_rx_buffer, UART_BUFFER_SIZE);
    }
}
//ADC
void HAL_ADC_ConvHalfCpltCallback(ADC_HandleTypeDef* hadc) {
    // Se llenó la primera mitad del buffer actual
    switch(current_buffer_section) {
        case BUFFER_PING_FIRST_HALF:
            current_buffer_section = BUFFER_PING_SECOND_HALF;
            break;
        case BUFFER_PONG_FIRST_HALF:
            current_buffer_section = BUFFER_PONG_SECOND_HALF;
            break;
        default:
            // Manejo de error
            break;
    }
    data_ready = 1;
}

//// Callback de transferencia completa DMA
//void HAL_ADC_ConvCpltCallback(ADC_HandleTypeDef* hadc) {
//    full_transfer_flag = 1;
//    half_transfer_flag = 0;
//}
void HAL_ADC_ConvCpltCallback(ADC_HandleTypeDef* hadc) {
    // Se llenó la segunda mitad del buffer actual + cambio de buffer
    switch(current_buffer_section) {
        case BUFFER_PING_SECOND_HALF:
            // Cambiar a pong y actualizar DMA
            HAL_ADC_Stop_DMA(&hadc1);
            HAL_ADC_Start_DMA(&hadc1, (uint32_t*)adc_buffer_pong, 2 * BUFFER_SIZE);
            current_buffer_section = BUFFER_PONG_FIRST_HALF;
            break;

        case BUFFER_PONG_SECOND_HALF:
            // Cambiar a ping y actualizar DMA
            HAL_ADC_Stop_DMA(&hadc1);
            HAL_ADC_Start_DMA(&hadc1, (uint32_t*)adc_buffer_ping, 2 * BUFFER_SIZE);
            current_buffer_section = BUFFER_PING_FIRST_HALF;
            break;

        default:
            // Manejo de error
            break;
    }
    data_ready = 1;
}

// %%%%%%% TIMER - EXTI %%%%%%%%%%%
//Timers
void HAL_TIM_PeriodElapsedCallback(TIM_HandleTypeDef *htim)
{
	if(htim->Instance == TIM2)
	{
		HAL_GPIO_TogglePin(pinH1Led2Board_GPIO_Port, pinH1Led2Board_Pin);	}
	else if(htim->Instance == TIM4)
	{
		display7segmentFLAG=1;
	}
}

//EXTI
void HAL_GPIO_EXTI_Callback(uint16_t GPIO_Pin)
{
//	if(GPIO_Pin == pinEncoderCLK_Pin)
//	{
//		valorCLK = HAL_GPIO_ReadPin(pinEncoderCLK_GPIO_Port, pinEncoderCLK_Pin);
//		valorDT = HAL_GPIO_ReadPin(pinEncoderDT_GPIO_Port, pinEncoderDT_Pin);
//		encoderCLKextiFLAG = 1;
//	}
	if(GPIO_Pin == pinEncoderSW_Pin)
	{
		encoderSWextiFLAG = 1;
	}
}

/* USER CODE END 4 */

void Error_Handler(void)
{
  __disable_irq();
  while (1)
  {
  }
}
